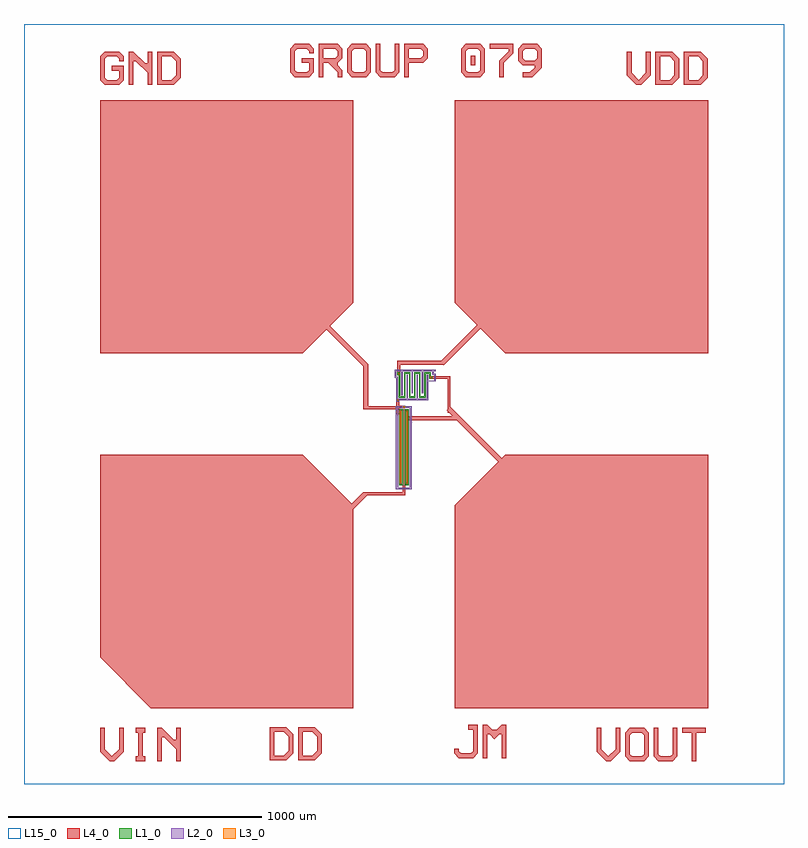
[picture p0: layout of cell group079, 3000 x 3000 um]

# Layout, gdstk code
import gdstk
lib = gdstk.Library(unit=1e-6, precision=1e-09)
def R(c, l, rs):  # rectangles x0, y0, x1, y1
    for r in rs: c.add(gdstk.rectangle(r[:2], r[2:], *l))
def A(c, l, x, y, w, h, nx, ny, dx, dy):  # array of equal rectangles
    R(c, l, [(x+i*dx, y+j*dy, x+i*dx+w, y+j*dy+h) for i in range(nx) for j in range(ny)])
def P(c, l, *ps):  # polygons
    for p in ps: c.add(gdstk.Polygon(p, *l))
L1_0 = (1, 0)
L2_0 = (2, 0)
L3_0 = (3, 0)
L4_0 = (4, 0)
L15_0 = (15, 0)

text_4 = lib.new_cell('TEXT$4')
R(text_4, L4_0, [(712.5,46.875,731.25,84.375)])
P(text_4, L4_0, [(18.75,0),(0,18.75),(0,112.5),(18.75,131.25),(75,131.25),(93.75,112.5),(93.75,93.75),(75,93.75),(75,103.125),(65.625,112.5),(28.125,112.5),(18.75,103.125),(18.75,28.125),(28.125,18.75),(65.625,18.75),(75,28.125),(75,56.25),(46.875,56.25),(46.875,75),(93.75,75),(93.75,18.75),(75,0)],
  [(112.5,0),(112.5,131.25),(187.5,131.25),(206.25,112.5),(131.25,112.5),(131.25,75),(178.125,75),(187.5,84.375),(187.5,103.125),(178.125,112.5),(206.25,112.5),(206.25,75),(187.5,56.25),(187.5,46.875),(206.25,28.125),(206.25,0),(187.5,0),(187.5,18.75),(150,56.25),(131.25,56.25),(131.25,0)],
  [(243.75,0),(225,18.75),(225,112.5),(243.75,131.25),(300,131.25),(318.75,112.5),(318.75,65.625),(300,65.625),(300,103.125),(290.625,112.5),(253.125,112.5),(243.75,103.125),(243.75,28.125),(253.125,18.75),(290.625,18.75),(300,28.125),(300,65.625),(318.75,65.625),(318.75,18.75),(300,0)],
  [(356.25,0),(337.5,18.75),(337.5,131.25),(356.25,131.25),(356.25,28.125),(365.625,18.75),(403.125,18.75),(412.5,28.125),(412.5,131.25),(431.25,131.25),(431.25,18.75),(412.5,0)],
  [(450,0),(450,131.25),(525,131.25),(543.75,112.5),(543.75,75),(525,56.25),(468.75,56.25),(468.75,75),(515.625,75),(525,84.375),(525,103.125),(515.625,112.5),(468.75,112.5),(468.75,0)],
  [(693.75,0),(675,18.75),(675,112.5),(693.75,131.25),(750,131.25),(768.75,112.5),(703.125,112.5),(693.75,103.125),(693.75,28.125),(703.125,18.75),(740.625,18.75),(750,28.125),(750,103.125),(740.625,112.5),(768.75,112.5),(768.75,18.75),(750,0)],
  [(825,0),(825,65.625),(862.5,103.125),(862.5,112.5),(787.5,112.5),(787.5,131.25),(881.25,131.25),(881.25,93.75),(843.75,56.25),(843.75,0)],
  [(918.75,0),(918.75,18.75),(946.875,18.75),(965.625,37.5),(965.625,46.875),(918.75,46.875),(900,65.625),(965.625,65.625),(975,75),(975,103.125),(965.625,112.5),(928.125,112.5),(918.75,103.125),(918.75,75),(928.125,65.625),(900,65.625),(900,112.5),(918.75,131.25),(975,131.25),(993.75,112.5),(993.75,37.5),(956.25,0)])

text_9 = lib.new_cell('TEXT$9')
P(text_9, L4_0, [(18.75,0),(0,18.75),(0,112.5),(18.75,131.25),(75,131.25),(93.75,112.5),(93.75,93.75),(75,93.75),(75,103.125),(65.625,112.5),(28.125,112.5),(18.75,103.125),(18.75,28.125),(28.125,18.75),(65.625,18.75),(75,28.125),(75,56.25),(46.875,56.25),(46.875,75),(93.75,75),(93.75,18.75),(75,0)],
  [(112.5,0),(112.5,131.25),(131.25,131.25),(178.125,84.375),(187.5,84.375),(187.5,131.25),(206.25,131.25),(206.25,0),(187.5,0),(187.5,46.875),(140.625,93.75),(131.25,93.75),(131.25,0)],
  [(225,0),(225,131.25),(290.625,131.25),(309.375,112.5),(243.75,112.5),(243.75,18.75),(281.25,18.75),(300,37.5),(300,93.75),(281.25,112.5),(309.375,112.5),(318.75,103.125),(318.75,28.125),(290.625,0)])

text_11 = lib.new_cell('TEXT$11')
P(text_11, L4_0, [(37.5,0),(0,37.5),(0,131.25),(18.75,131.25),(18.75,46.875),(46.875,18.75),(75,46.875),(75,131.25),(93.75,131.25),(93.75,37.5),(56.25,0)],
  [(112.5,0),(112.5,131.25),(178.125,131.25),(196.875,112.5),(131.25,112.5),(131.25,18.75),(168.75,18.75),(187.5,37.5),(187.5,93.75),(168.75,112.5),(196.875,112.5),(206.25,103.125),(206.25,28.125),(178.125,0)],
  [(225,0),(225,131.25),(290.625,131.25),(309.375,112.5),(243.75,112.5),(243.75,18.75),(281.25,18.75),(300,37.5),(300,93.75),(281.25,112.5),(309.375,112.5),(318.75,103.125),(318.75,28.125),(290.625,0)])

text_1 = lib.new_cell('TEXT$1')
P(text_1, L4_0, [(37.5,0),(0,37.5),(0,131.25),(18.75,131.25),(18.75,46.875),(46.875,18.75),(75,46.875),(75,131.25),(93.75,131.25),(93.75,37.5),(56.25,0)],
  [(140.625,0),(140.625,18.75),(150,18.75),(150,112.5),(140.625,112.5),(140.625,131.25),(178.125,131.25),(178.125,112.5),(168.75,112.5),(168.75,18.75),(178.125,18.75),(178.125,0)],
  [(225,0),(225,131.25),(243.75,131.25),(290.625,84.375),(300,84.375),(300,131.25),(318.75,131.25),(318.75,0),(300,0),(300,46.875),(253.125,93.75),(243.75,93.75),(243.75,0)])

text_2 = lib.new_cell('TEXT$2')
P(text_2, L4_0, [(37.5,0),(0,37.5),(0,131.25),(18.75,131.25),(18.75,46.875),(46.875,18.75),(75,46.875),(75,131.25),(93.75,131.25),(93.75,37.5),(56.25,0)],
  [(131.25,0),(112.5,18.75),(112.5,112.5),(131.25,131.25),(187.5,131.25),(206.25,112.5),(206.25,65.625),(187.5,65.625),(187.5,103.125),(178.125,112.5),(140.625,112.5),(131.25,103.125),(131.25,28.125),(140.625,18.75),(178.125,18.75),(187.5,28.125),(187.5,65.625),(206.25,65.625),(206.25,18.75),(187.5,0)],
  [(243.75,0),(225,18.75),(225,131.25),(243.75,131.25),(243.75,28.125),(253.125,18.75),(290.625,18.75),(300,28.125),(300,131.25),(318.75,131.25),(318.75,18.75),(300,0)],
  [(375,0),(375,112.5),(337.5,112.5),(337.5,131.25),(431.25,131.25),(431.25,112.5),(393.75,112.5),(393.75,0)])

text = lib.new_cell('TEXT')
P(text, L4_0, [(0,0),(0,131.25),(65.625,131.25),(84.375,112.5),(18.75,112.5),(18.75,18.75),(56.25,18.75),(75,37.5),(75,93.75),(56.25,112.5),(84.375,112.5),(93.75,103.125),(93.75,28.125),(65.625,0)],
  [(112.5,0),(112.5,131.25),(178.125,131.25),(196.875,112.5),(131.25,112.5),(131.25,18.75),(168.75,18.75),(187.5,37.5),(187.5,93.75),(168.75,112.5),(196.875,112.5),(206.25,103.125),(206.25,28.125),(178.125,0)])

text_5 = lib.new_cell('TEXT$5')
P(text_5, L4_0, [(18.75,0),(0,18.75),(0,37.5),(18.75,37.5),(18.75,28.125),(28.125,18.75),(65.625,18.75),(75,28.125),(75,112.5),(56.25,112.5),(56.25,131.25),(93.75,131.25),(93.75,18.75),(75,0)],
  [(112.5,0),(112.5,131.25),(131.25,131.25),(150,112.5),(168.75,112.5),(187.5,131.25),(206.25,131.25),(206.25,0),(187.5,0),(187.5,93.75),(178.125,93.75),(159.375,75),(140.625,93.75),(131.25,93.75),(131.25,0)])

group079 = lib.new_cell('group079')
A(group079, L1_0, -20, 25, 25, 5, 3, 1, 40, 0)
A(group079, L1_0, 0, 30, 5, 95, 5, 1, 20, 0)
A(group079, L1_0, 5, 120, 15, 5, 3, 1, 40, 0)
R(group079, L1_0, [(-19,-320,-3,-20), (2,-320,18,-20), (-19.926,24.971,-14.926,114.971), (100,99,111,110), (100,110,105,125), (-26,114,-15,125)])
R(group079, L2_0, [(-6.25,-17,4.75,-6), (-30,9,-19,20), (-30,15,36,20), (36,15,95,20), (-30,20,-25,108), (10,20,15,115), (50,20,55,115), (90,20,95,115.1), (-10,35,-5,130), (30,42,35,130), (70,42,75,130), (-36,103,-31,135), (-31,103,-30,108), (-31,130,35,135), (35,130,65,135), (65,130,95,135)])
P(group079, L2_0, [(-3.55,-335.858),(-3.55,-330.403),(22.007,-330.403),(22.007,-14.011),(-2.985,-13.987),(-2.989,-8.556),(30.526,-8.556),(30.526,-335.858)],
  [(-31.94,-335.819),(-31.94,-8.517),(2.136,-8.517),(2.136,-13.972),(-23.421,-13.972),(-23.421,-330.364),(1.571,-330.388),(1.575,-335.819)],
  [(95,90),(95,92.5),(120.062,92.5),(120.062,100),(120,100),(120,115),(112,115),(112,120),(125,120),(125,100.01),(125.019,100.01),(125.019,92.49),(125,92.49),(125,90)],
  [(112,120),(112,130),(95,130),(95,135),(125,135),(125,130),(118,130),(118,120)])
R(group079, L3_0, [(-16,-313,-11,-27), (10,-313,15,-27), (-3,-14,2,-9), (-27,12,-22,17), (103,102,108,107), (-23,117,-18,122)])
R(group079, L4_0, [(-160,-360,4,-349), (-5,-360,4,-20), (-19,-316,-8,-24), (7,-316,18,-24), (18,-63.5,45,-48.5), (45,-63.5,211,-48.5), (-30,-40,-19,-17), (172.089,-35,183.089,110), (-160,-20,-30,-8), (-160,-20,-140.931,157.574), (-30,-17,4.75,-6), (-30,-11,-19,20), (100,99,180,110), (-26,114,-15,155), (-26,155,156,170)])
P(group079, L4_0, [(372.686,-228.277),(168.691,-24.282),(182.834,-10.139),(386.829,-214.134)],
  [(157.574,153.431),(143.431,167.574),(297.426,321.569),(311.569,307.426)],
  [(-300.844,-515.658),(-314.987,-501.515),(-160.992,-347.52),(-146.849,-361.663)],
  [(157.574,153.431),(143.431,167.574),(297.426,321.569),(311.569,307.426)],
  [(-155.074,143.431),(-316.569,304.926),(-302.426,319.069),(-140.931,157.574)],
  [(-1000,-1200),(-1200,-1000),(-1200,-200),(-400,-200),(-200,-400),(-200,-1200)],
  [(-1200,200),(-1200,1200),(-200,1200),(-200,400),(-400,200)],
  [(400,200),(200,400),(200,1200),(1200,1200),(1200,200)],
  [(200,-1200),(200,-400),(400,-200),(1200,-200),(1200,-1200)])
R(group079, L15_0, [(-1500,-1500,1500,1500)])
group079.add(gdstk.Reference(text_4, (-450,1290)))
group079.add(gdstk.Reference(text_9, (-1200,1260)))
group079.add(gdstk.Reference(text_11, (880,1260)))
group079.add(gdstk.Reference(text_1, (-1200,-1410)))
group079.add(gdstk.Reference(text_2, (760,-1410)))
group079.add(gdstk.Reference(text, (-530.559,-1406.929)))
group079.add(gdstk.Reference(text_5, (197.47,-1398.005)))

lib.write_gds('group079.gds')
